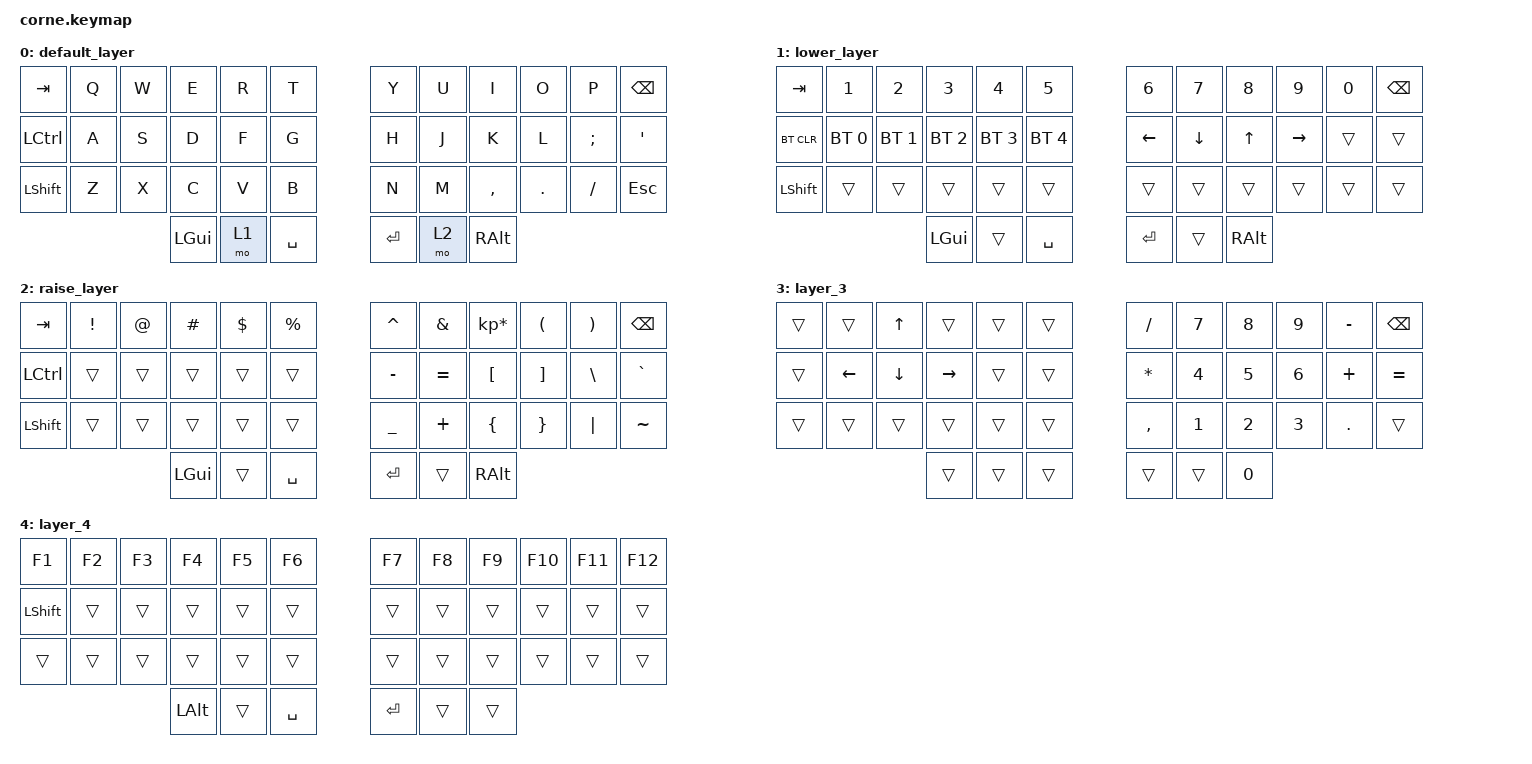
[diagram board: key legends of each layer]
/*
 * Copyright (c) 2020 The ZMK Contributors
 *
 * SPDX-License-Identifier: MIT
 */

#include <behaviors.dtsi>
#include <dt-bindings/zmk/bt.h>
#include <dt-bindings/zmk/keys.h>

/ {
    combos {
        compatible = "zmk,combos";

        layer3 {
            bindings = <&mo 3>;
            key-positions = <36 24>;
        };

        funchtion {
            bindings = <&tog 4>;
            key-positions = <36 25>;
        };
    };

    keymap {
        compatible = "zmk,keymap";

        default_layer {
            // -----------------------------------------------------------------------------------------
            // |  TAB |  Q  |  W  |  E  |  R  |  T  |   |  Y  |  U   |  I  |  O  |  P  | BKSP |
            // | CTRL |  A  |  S  |  D  |  F  |  G  |   |  H  |  J   |  K  |  L  |  ;  |  '   |
            // | SHFT |  Z  |  X  |  C  |  V  |  B  |   |  N  |  M   |  ,  |  .  |  /  | ESC  |
            //                    | GUI | LWR | SPC |   | ENT | RSE  | ALT |

            bindings = <
&kp TAB    &kp Q  &kp W  &kp E     &kp R  &kp T        &kp Y    &kp U  &kp I      &kp O    &kp P     &kp BSPC
&kp LCTRL  &kp A  &kp S  &kp D     &kp F  &kp G        &kp H    &kp J  &kp K      &kp L    &kp SEMI  &kp SQT
&kp LSHFT  &kp Z  &kp X  &kp C     &kp V  &kp B        &kp N    &kp M  &kp COMMA  &kp DOT  &kp FSLH  &kp ESC
                         &kp LGUI  &mo 1  &kp SPACE    &kp RET  &mo 2  &kp RALT
            >;
        };

        lower_layer {
            // -----------------------------------------------------------------------------------------
            // |  TAB |  1  |  2  |  3  |  4  |  5  |   |  6  |  7  |  8  |  9  |  0  | BKSP |
            // | BTCLR| BT1 | BT2 | BT3 | BT4 | BT5 |   | LFT | DWN |  UP | RGT |     |      |
            // | SHFT |     |     |     |     |     |   |     |     |     |     |     |      |
            //                    | GUI |     | SPC |   | ENT |     | ALT |

            bindings = <
&kp TAB     &kp N1        &kp N2        &kp N3        &kp N4        &kp N5          &kp N6    &kp N7    &kp N8    &kp N9     &kp N0  &kp BSPC
&bt BT_CLR  &bt BT_SEL 0  &bt BT_SEL 1  &bt BT_SEL 2  &bt BT_SEL 3  &bt BT_SEL 4    &kp LEFT  &kp DOWN  &kp UP    &kp RIGHT  &trans  &trans
&kp LSHFT   &trans        &trans        &trans        &trans        &trans          &trans    &trans    &trans    &trans     &trans  &trans
                                        &kp LGUI      &trans        &kp SPACE       &kp RET   &trans    &kp RALT
            >;
        };

        raise_layer {
            // -----------------------------------------------------------------------------------------
            // |  TAB |  !  |  @  |  #  |  $  |  %  |   |  ^  |  &  |  *  |  (  |  )  | BKSP |
            // | CTRL |     |     |     |     |     |   |  -  |  =  |  [  |  ]  |  \  |  `   |
            // | SHFT |     |     |     |     |     |   |  _  |  +  |  {  |  }  | "|" |  ~   |
            //                    | GUI |     | SPC |   | ENT |     | ALT |

            bindings = <
&kp TAB    &kp EXCL  &kp AT  &kp HASH  &kp DLLR  &kp PRCNT    &kp CARET  &kp AMPS   &kp KP_MULTIPLY  &kp LPAR  &kp RPAR  &kp BSPC
&kp LCTRL  &trans    &trans  &trans    &trans    &trans       &kp MINUS  &kp EQUAL  &kp LBKT         &kp RBKT  &kp BSLH  &kp GRAVE
&kp LSHFT  &trans    &trans  &trans    &trans    &trans       &kp UNDER  &kp PLUS   &kp LBRC         &kp RBRC  &kp PIPE  &kp TILDE
                             &kp LGUI  &trans    &kp SPACE    &kp RET    &trans     &kp RALT
            >;
        };

        layer_3 {
            bindings = <
&trans  &trans    &kp UP_ARROW  &trans     &trans  &trans    &kp SLASH     &kp NUMBER_7  &kp NUMBER_8  &kp N9        &kp MINUS   &kp BACKSPACE
&trans  &kp LEFT  &kp DOWN      &kp RIGHT  &trans  &trans    &kp ASTERISK  &kp NUMBER_4  &kp N5        &kp NUMBER_6  &kp PLUS    &kp EQUAL
&trans  &trans    &trans        &trans     &trans  &trans    &kp COMMA     &kp NUMBER_1  &kp NUMBER_2  &kp NUMBER_3  &kp PERIOD  &trans
                                &trans     &trans  &trans    &trans        &trans        &kp NUMBER_0
            >;
        };

        layer_4 {
            bindings = <
&kp F1     &kp F2  &kp F3  &kp F4    &kp F5  &kp F6       &kp F7     &kp F8  &kp F9  &kp F10  &kp F11  &kp F12
&kp LSHFT  &trans  &trans  &trans    &trans  &trans       &trans     &trans  &trans  &trans   &trans   &trans
&trans     &trans  &trans  &trans    &trans  &trans       &trans     &trans  &trans  &trans   &trans   &trans
                           &kp LALT  &trans  &kp SPACE    &kp ENTER  &trans  &trans
            >;
        };
    };

    conditional_layers {
        compatible = "zmk,conditional-layers";

        Flayer {
            if-layers = <0>;
            then-layer = <4>;
        };
    };
};
